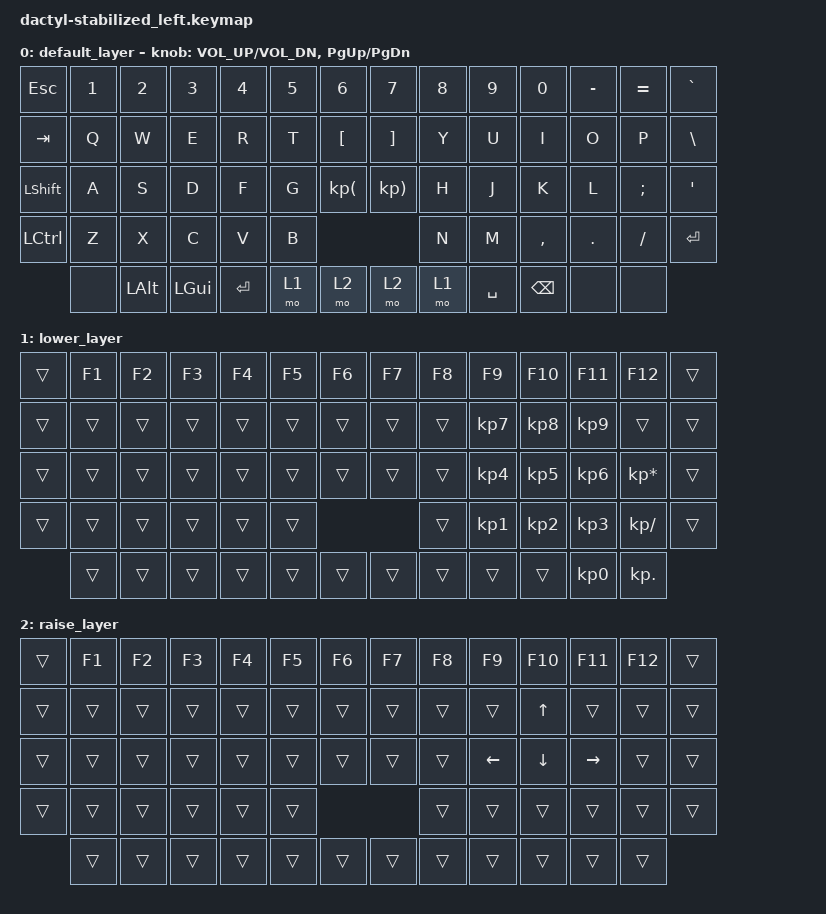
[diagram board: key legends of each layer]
/*
 * Copyright (c) 2020 The ZMK Contributors
 *
 * SPDX-License-Identifier: MIT
 */

 #include <behaviors.dtsi>
 #include <dt-bindings/zmk/keys.h>
 #include <dt-bindings/zmk/bt.h>
 
 / {
     keymap {
         compatible = "zmk,keymap";
 
         // TODO: SWAP SHIFTED KEYS SOMEHOW
         default_layer {
 // ------------------------------------------------------------------------------------------------------------
 // |  ESC  |  1  |  2  |   3  |   4   |   5   |   6   |  |   7   |   8   |  9    |  0    |  -   |   +   |   `   |
 // |  TAB  |  Q  |  W  |   E  |   R   |   T   |   [   |  |   ]   |   Y   |  U    |  I    |  O   |   P   |   \   |
 // | SHIFT |  A  |  S  |   D  |   F   |   G   |   (   |  |   )   |   H   |  J    |  K    |  L   |   ;   |   '   |
 // |  CTRL |  Z  |  X  |   C  |   V   |   B   |       |  |       |   N   |  M    |  ,    |  .   |   /   | ENTER |
 //         | XXX | ALT |  GUI | ENTER | LOWER | RAISE |  | RAISE | LOWER | SPACE | BSPC  | UNDO |   DO  |
 //
             bindings = <
 &kp ESC    &kp N1 &kp N2   &kp N3   &kp N4    &kp N5     &kp N6             &kp N7      &kp N8    &kp N9    &kp N0    &kp MINUS &kp EQUAL &kp GRAVE
 &kp TAB    &kp Q  &kp W    &kp E    &kp R     &kp T      &kp LBKT           &kp RBKT    &kp Y     &kp U     &kp I     &kp O     &kp P     &kp BSLH
 &kp LSHIFT &kp A  &kp S    &kp D    &kp F     &kp G      &kp KP_LPAR        &kp KP_RPAR &kp H     &kp J     &kp K     &kp L     &kp SEMI  &kp SQT
 &kp LCTRL  &kp Z  &kp X    &kp C    &kp V     &kp B                                     &kp N     &kp M     &kp COMMA &kp DOT   &kp FSLH  &kp ENTER
            &none  &kp LALT &kp LGUI &kp ENTER &mo 1      &mo 2              &mo 2       &mo 1     &kp SPACE &kp BSPC  &none     &none
             >;
 
             sensor-bindings = <&inc_dec_kp C_VOL_UP C_VOL_DN &inc_dec_kp PG_UP PG_DN>;
         };
 
         lower_layer {
 // ------------------------------------------------------------------------------------------------------------
 // |       |  F1 | F2  |  F3  |  F4  |  F5  |   F6   |  |       |  F7  |  F8   |  F9   |  F10  |  F11  |  F12  |       |
 // |       |     |     |      |      |      |        |  |       |      |   7   |   8   |   9   |       |       |       |
 // |       |     |     |      |      |      |        |  |       |      |   4   |   5   |   6   |   *   |       |       |
 // |       |     |     |      |      |      |        |  |       |      |   1   |   2   |   3   |   /   |       |       |
 //               |     |      |      |      |        |  |       |      |       |       |       |   0   |   .   |       |
             bindings = <
 &trans    &kp F1    &kp F2    &kp F3    &kp F4    &kp F5    &kp F6          &kp F7   &kp F8     &kp F9    &kp F10   &kp F11   &kp F12         &trans
 &trans    &trans    &trans    &trans    &trans    &trans    &trans          &trans    &trans    &kp KP_N7 &kp KP_N8 &kp KP_N9 &trans          &trans
 &trans    &trans    &trans    &trans    &trans    &trans    &trans          &trans    &trans    &kp KP_N4 &kp KP_N5 &kp KP_N6 &kp KP_MULTIPLY &trans
 &trans    &trans    &trans    &trans    &trans    &trans                              &trans    &kp KP_N1 &kp KP_N2 &kp KP_N3 &kp KP_DIVIDE   &trans
           &trans    &trans    &trans    &trans    &trans    &trans          &trans    &trans    &trans    &trans     &kp KP_N0 &kp KP_DOT
             >;
         };
 
         raise_layer {
 // ------------------------------------------------------------------------------------------------------------
 // |       |  F1 | F2  |  F3  |  F4  |  F5  |   F6   |  |       |  F7  |  F8   |  F9   |  F10 |  F11  |  F12  |
 // |       |     |     |      |      |      |        |  |       |      |   ^   |       |      |       |       |
 // |       |     |     |      |      |      |        |  |       |  <   |   v   |   >   |      |       |       |
 // |       |     |     |      |      |      |        |  |       |      |       |       |      |       |       |
 //               |     |      |      |      |        |  |       |      |       |       |      |       |       |
             bindings = <
 &trans    &kp F1    &kp F2    &kp F3    &kp F4    &kp F5    &kp F6          &kp F7   &kp F8     &kp F9    &kp F10  &kp F11   &kp F12   &trans
 &trans    &trans    &trans    &trans    &trans    &trans    &trans          &trans    &trans    &trans    &kp UP   &trans    &trans    &trans
 &trans    &trans    &trans    &trans    &trans    &trans    &trans          &trans    &trans    &kp LEFT  &kp DOWN &kp RIGHT &trans    &trans
 &trans    &trans    &trans    &trans    &trans    &trans                              &trans    &trans    &trans    &trans    &trans    &trans
           &trans    &trans    &trans    &trans    &trans    &trans          &trans    &trans    &trans    &trans    &trans    &trans
             >;
         };
     };
 };
 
